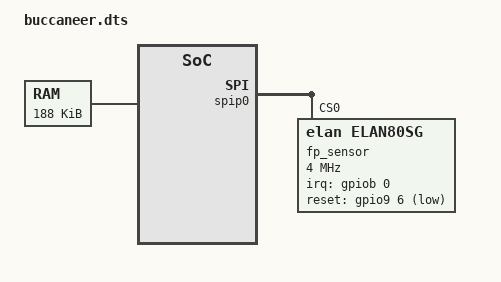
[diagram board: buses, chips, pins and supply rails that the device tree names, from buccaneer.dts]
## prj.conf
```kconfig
# Copyright 2025 The ChromiumOS Authors
# Use of this source code is governed by a BSD-style license that can be
# found in the LICENSE file.

CONFIG_BASEBOARD_HELIPILOT=y

# System Controller drivers
CONFIG_SYSCON=y
CONFIG_SYS_CLOCK_HW_CYCLES_PER_SEC=16000000

# Power Management
CONFIG_PM=y
CONFIG_PM_DEVICE=y

# NPCX Flash driver options
CONFIG_FLASH_JESD216_API=y
CONFIG_FLASH_EX_OP_ENABLED=y
CONFIG_CROS_FLASH_NPCX_ERASE_SIZE=0x10000

# NPCX entropy driver options
CONFIG_ENTROPY_GENERATOR=y
CONFIG_ENTROPY_NPCX_DRBG_RESEED_INTERVAL=4294967295

# Set security strength to 256b
CONFIG_ENTROPY_NPCX_DRBG_SECURITY_STRENGTH_256B=y

# Enable OTP Key
CONFIG_NPCX_OTP_KEY=y

# Watchdog
CONFIG_PLATFORM_EC_WATCHDOG_PERIOD_MS=10000
CONFIG_WDT_NPCX_WARNING_LEADING_TIME_MS=3000

# RTC
CONFIG_PLATFORM_EC_RTC=y

# Disable flash shell for helipilot to save space
CONFIG_FLASH_SHELL=n

# Disable math util to save space
CONFIG_PLATFORM_EC_MATH_UTIL=n

# Disable assert to save space
CONFIG_PLATFORM_EC_DEBUG_ASSERT=n

# Host Commands
CONFIG_EC_HOST_CMD_INITIALIZE_AT_BOOT=n
CONFIG_EC_HOST_CMD_HANDLER_TX_BUFFER_SIZE=549
CONFIG_EC_HOST_CMD_HANDLER_RX_BUFFER_SIZE=544
CONFIG_EC_HOST_CMD_BACKEND_SHI=y
CONFIG_EC_HOST_CMD_BACKEND_UART=y
CONFIG_UART_ASYNC_API=y
CONFIG_UART_NPCX_USE_MDMA=y

# When HW_STACK_PROTECTION is enabled, the NULL pointer exception page size
# (CONFIG_CORTEX_M_NULL_POINTER_EXCEPTION_PAGE_SIZE)
# must have size greater or equal ARM_MPU_REGION_MIN_ALIGN_AND_SIZE (0x80).
# However that MPU configuration prevents access to the NPCX ROM functions at
# address 0x40-x0x5c.
#
# In order to keep HW_STACK_PROTECTION enabled, enable NULL pointer exception
# detection via the Data Watchpoint and Trace (DWT) unit.
CONFIG_NULL_POINTER_EXCEPTION_DETECTION_DWT=y

# Helipilot specific CROS EC sizes
CONFIG_CROS_EC_RO_SIZE=0x1F000

# b/427468960#comment10: sysworkq task overflows when handling Host Commands
# HC 0x0122 (EC_CMD_ADD_ENTROPY) and HC 0x0406 (EC_CMD_FP_CONTEXT)
CONFIG_SYSTEM_WORKQUEUE_STACK_SIZE=2048

# Enable runtime power management for devices
# Used in ec_host_cmd_backend_shi_npcx.c. Also see
# https://github.com/zephyrproject-rtos/zephyr/pull/92567.
CONFIG_PM_DEVICE_RUNTIME=y

# Enable NPCX RAM Lock
CONFIG_NPCX_RAM_LOCK=y

# Enable SHI shim initialization via SYS_INIT for earlier execution,
# which is required to prevent a race condition with the host command
# EC_CMD_RWSIG_ACTION (0x011d) during boot/sysjump. See b/427468960.
CONFIG_NPCX_SHI_SHIM_INIT_WITH_SYS_INIT=y

# Current rollback version value for helipilot.
CONFIG_PLATFORM_EC_ROLLBACK_VERSION=0

# Disable dropped logs tracking as limited on flash space.
CONFIG_PLATFORM_EC_HOSTCMD_CONSOLE_DROPPED_LOGS=n
```

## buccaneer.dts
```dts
/* Copyright 2025 The ChromiumOS Authors.
 * Use of this source code is governed by a BSD-style license that can be
 * found in the LICENSE file.
 */

#include "soc.dtsi"
#include "gpio.dtsi"
#include "buccaneer/rwsig.dtsi"

#include <cros/integrated_fwid.dtsi>
#include <cros/integrated_ro_frid.dtsi>

#define ELAN80SG_COMMON_IMAGE_PROPS \
	width = <80>; \
	height = <80>; \
	bits-per-pixel = <14>; \
	frame-size = <12800>; \
	image-data-offset-bytes = <0>; \
	v4l2-pixel-format = "V4L2_PIX_FMT_GREY";

/ {
	chosen {
		cros-fp,fingerprint-sensor = &fp_sensor;
		zephyr,host-cmd-shi-backend = &shi0;
		zephyr,host-cmd-uart-backend = &uart2;
		zephyr,shell-uart = &uart1;
		cros,rtc = &mtc;
	};

	binman {
		pad-byte = <0xff>;

		/* Total Flash size is 1 MB. */
		size = <0x100000>;

		/* First 128 kB (uniform 4 kB sectors) used for RO */
		wp-ro {
			offset = <0x0>;
			size = <0x20000>;
			ec-ro {
				size = <0x20000>;
				pad-byte = <0xff>;
				ro-fw {
					/*
					 * Clang doesn't emit STT_SECTION symbols (also
					 * called 'section symbols'), so 'rom_start'
					 * symbol is not available. Fortunately, Zephyr
					 * linker scripts provide '__rom_start_address'
					 * symbol which points to the beginning of
					 * 'rom_start' section.
					 */
					elf-base-sym = "__rom_start_address";
				};

				/*
				 * Override ro-frid offset to account for the 64-byte (0x40)
				 * NPCX firmware header prepended to the Zephyr RO image.
				 * 4 (version struct offset) + 0x40 (header) = 0x44 (68 bytes)
				 * go/cros-fp-npcx99fp-bootloader
				 */
				ro-frid {
					offset-from-elf = <&zephyr_ro>, "current_image_data", <0x44>;
				};
			};
		};

		/* Two rollback sections (64 kB each) */
		rollback0 {
			offset = <0x20000>;
			size = <0x10000>;
			type = "blob";
			filename = "../build-rw/rollback_initial_data.bin";
		};

		rollback1 {
			offset = <0x30000>;
			size = <0x10000>;
			type = "blob";
			filename = "../build-rw/rollback_initial_data.bin";
		};

		/* 320 kB used for RW - buccaneer ECOS flash size */
		ec-rw {
			offset = <0x40000>;
			size = <0x50000>;
			rw-fw {
				/*
				 * Clang doesn't emit STT_SECTION symbols (also
				 * called 'section symbols'), so 'rom_start'
				 * symbol is not available. Fortunately, Zephyr
				 * linker scripts provide '__rom_start_address'
				 * symbol which points to the beginning of
				 * 'rom_start' section.
				 */
				zephyr-rw {
					elf-base-sym = "__rom_start_address";
				};
			};
		};
	};
};

/*
 *           ┌──────────────┐
 *           │   Reserved   │
 *           │     4KB      │
 *           ├──────────────┤0x200D7000
 *           │              │
 *           │              │
 *           │   Data RAM   │
 *           │     188KB    │
 *           │              │
 *           │              │
 * 0x100A8000├──────────────┤0x200A8000
 *           │              │
 *           │              │
 *           │              │
 *           │              │
 *           │   Code RAM   │
 *           │     320KB    │
 *           │              │
 *           │              │
 *           │              │
 *           │              │
 *           │              │
 * 0x10058000└──────────────┘
 */
&flash0 {
    reg = <0x10058000 DT_SIZE_K(320)>;
};

/delete-node/ &sram0;

/ {
	sram0: memory@200a8000 {
		compatible = "mmio-sram";
		reg = <0x200A8000 DT_SIZE_K(188)>;
	};
};

&flash0 {
	partitions {
		compatible = "fixed-partitions";
		#address-cells = <1>;
		#size-cells = <1>;

		/* First rollback section */
		rollback0: partition@20000 {
			label = "rollback0";
			reg = <0x20000 DT_SIZE_K(64)>;
		};

		/* Second rollback section */
		rollback1: partition@30000 {
			label = "rollback1";
			reg = <0x30000 DT_SIZE_K(64)>;
		};
	};
};

&spip0 {
	fp_sensor: elan80sg@0 {
		compatible = "elan,elan80sg";
		reg = <0>;
		spi-max-frequency = <4000000>;

		configs {
			compatible = "fingerprint-image-frame-params";
			config0 {
				ELAN80SG_COMMON_IMAGE_PROPS
				capture-type = "FINGERPRINT_CAPTURE_TYPE_VENDOR_FORMAT";
			};
			config1 {
				ELAN80SG_COMMON_IMAGE_PROPS
				capture-type = "FINGERPRINT_CAPTURE_TYPE_SIMPLE_IMAGE";
			};
			config2 {
				ELAN80SG_COMMON_IMAGE_PROPS
				capture-type = "FINGERPRINT_CAPTURE_TYPE_PATTERN0";
			};
			config3 {
				ELAN80SG_COMMON_IMAGE_PROPS
				capture-type = "FINGERPRINT_CAPTURE_TYPE_PATTERN1";
			};
			config4 {
				ELAN80SG_COMMON_IMAGE_PROPS
				capture-type = "FINGERPRINT_CAPTURE_TYPE_QUALITY_TEST";
			};
			config5 {
				ELAN80SG_COMMON_IMAGE_PROPS
				capture-type = "FINGERPRINT_CAPTURE_TYPE_RESET_TEST";
			};
		};

		irq-gpios = <&gpiob 0 GPIO_ACTIVE_HIGH>;
		reset-gpios = <&gpio9 6 GPIO_ACTIVE_LOW>;
	};
};
```

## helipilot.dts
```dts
/* Copyright 2025 The ChromiumOS Authors.
 * Use of this source code is governed by a BSD-style license that can be
 * found in the LICENSE file.
 */

#include "soc.dtsi"
#include "gpio.dtsi"
#include "rwsig.dtsi"

#include <cros/integrated_fwid.dtsi>
#include <cros/integrated_ro_frid.dtsi>

#define FPC1025_BASE_IMAGE_PROPS \
    width = <160>; \
    height = <160>; \
    bits-per-pixel = <8>; \
    image-data-offset-bytes = <400>; \
    v4l2-pixel-format = "V4L2_PIX_FMT_GREY";

#define FPC1025_RAW_IMAGE_PROPS \
    FPC1025_BASE_IMAGE_PROPS \
    /*
     * Sensor raw image size
     *
     * Value from fpc_bep_image_get_buffer_size(): (160*160)+660
     */ \
    frame-size = <26260>;

#define FPC1025_REAL_IMAGE_PROPS \
    FPC1025_BASE_IMAGE_PROPS \
    /* Sensor real image size: (160*160) */ \
    frame-size = <25600>;

/ {
	chosen {
		cros-fp,fingerprint-sensor = &fp_sensor;
		zephyr,host-cmd-shi-backend = &shi0;
		zephyr,host-cmd-uart-backend = &uart2;
		zephyr,shell-uart = &uart1;
		cros,rtc = &mtc;
	};

	binman {
		pad-byte = <0xff>;

		/* Total Flash size is 1 MB. */
		size = <0x100000>;

		/* First 128 kB (uniform 4 kB sectors) used for RO */
		wp-ro {
			offset = <0x0>;
			size = <0x20000>;
			ec-ro {
				size = <0x20000>;
				pad-byte = <0xff>;
				ro-fw {
					/*
					 * Clang doesn't emit STT_SECTION symbols (also
					 * called 'section symbols'), so 'rom_start'
					 * symbol is not available. Fortunately, Zephyr
					 * linker scripts provide '__rom_start_address'
					 * symbol which points to the beginning of
					 * 'rom_start' section.
					 */
					elf-base-sym = "__rom_start_address";
				};

				/*
				 * Override ro-frid offset to account for the 64-byte (0x40)
				 * NPCX firmware header prepended to the Zephyr RO image.
				 * 4 (version struct offset) + 0x40 (header) = 0x44 (68 bytes)
				 * go/cros-fp-npcx99fp-bootloader
				 */
				ro-frid {
					offset-from-elf = <&zephyr_ro>, "current_image_data", <0x44>;
				};
			};
		};

		/* Two rollback sections (64 kB each) */
		rollback0 {
			offset = <0x20000>;
			size = <0x10000>;
			type = "blob";
			filename = "../build-rw/rollback_initial_data.bin";
		};

		rollback1 {
			offset = <0x30000>;
			size = <0x10000>;
			type = "blob";
			filename = "../build-rw/rollback_initial_data.bin";
		};

		/* 320 kB used for RW - helipilot ECOS flash size */
		ec-rw {
			offset = <0x40000>;
			size = <0x50000>;
			rw-fw {
				/*
				 * Clang doesn't emit STT_SECTION symbols (also
				 * called 'section symbols'), so 'rom_start'
				 * symbol is not available. Fortunately, Zephyr
				 * linker scripts provide '__rom_start_address'
				 * symbol which points to the beginning of
				 * 'rom_start' section.
				 */
				zephyr-rw {
					elf-base-sym = "__rom_start_address";
				};
			};
		};
	};
};

/*
 * Due to a rounding bug in ECOS helipilot, the size of RW now baked into
 * RO is 320 kB (0x50000). This change updates the code RAM to 320 kB
 * correspondingly, freeing up additional data memory. This results in the
 * following memory map for Zephyr Helipilot:
 *
 *           ┌──────────────┐
 *           │   Reserved   │
 *           │     4KB      │
 *           ├──────────────┤0x200D7000
 *           │              │
 *           │              │
 *           │   Data RAM   │
 *           │     188KB    │
 *           │              │
 *           │              │
 * 0x100A8000├──────────────┤0x200A8000
 *           │              │
 *           │              │
 *           │              │
 *           │              │
 *           │   Code RAM   │
 *           │     320KB    │
 *           │              │
 *           │              │
 *           │              │
 *           │              │
 *           │              │
 * 0x10058000└──────────────┘
 */
&flash0 {
    reg = <0x10058000 DT_SIZE_K(320)>;
};

/delete-node/ &sram0;

/ {
	sram0: memory@200a8000 {
		compatible = "mmio-sram";
		reg = <0x200A8000 DT_SIZE_K(188)>;
	};
};

&flash0 {
	partitions {
		compatible = "fixed-partitions";
		#address-cells = <1>;
		#size-cells = <1>;

		/* First rollback section */
		rollback0: partition@20000 {
			label = "rollback0";
			reg = <0x20000 DT_SIZE_K(64)>;
		};

		/* Second rollback section */
		rollback1: partition@30000 {
			label = "rollback1";
			reg = <0x30000 DT_SIZE_K(64)>;
		};
	};
};

&spip0 {
	fp_sensor: fpc1025@0 {
		compatible = "fpc,fpc1025";
		reg = <0>;
		spi-max-frequency = <4000000>;

		configs {
			compatible = "fingerprint-image-frame-params";
			config0 {
				FPC1025_RAW_IMAGE_PROPS
				capture-type = "FINGERPRINT_CAPTURE_TYPE_VENDOR_FORMAT";
			};
			config1 {
				FPC1025_REAL_IMAGE_PROPS
				capture-type = "FINGERPRINT_CAPTURE_TYPE_SIMPLE_IMAGE";
			};
			config2 {
				FPC1025_REAL_IMAGE_PROPS
				capture-type = "FINGERPRINT_CAPTURE_TYPE_PATTERN0";
			};
			config3 {
				FPC1025_REAL_IMAGE_PROPS
				capture-type = "FINGERPRINT_CAPTURE_TYPE_PATTERN1";
			};
			config4 {
				FPC1025_RAW_IMAGE_PROPS
				capture-type = "FINGERPRINT_CAPTURE_TYPE_QUALITY_TEST";
			};
			config5 {
				FPC1025_REAL_IMAGE_PROPS
				capture-type = "FINGERPRINT_CAPTURE_TYPE_RESET_TEST";
			};
		};

		irq-gpios = <&gpiob 0 GPIO_ACTIVE_HIGH>;
		reset-gpios = <&gpio9 6 GPIO_ACTIVE_LOW>;
	};
};
```

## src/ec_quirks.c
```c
/* Copyright 2025 The ChromiumOS Authors
 * Use of this source code is governed by a BSD-style license that can be
 * found in the LICENSE file.
 */

#include <zephyr/devicetree.h>
#include <zephyr/drivers/clock_control.h>
#include <zephyr/init.h>
#include <zephyr/irq.h>

#include <soc.h>

#define ITIM5_NODE DT_NODELABEL(itim5)

/*
 * Old FPMCU RO (EC based) uses ITIM32-5 as a watchdog warning to save the
 * CPU state before the real watchdog resets it. Zephyr instead uses the
 * watchdog module and it's capability to trigger warnings, so we disable this
 * timer to avoid an unhandled IRQ crash in cases where ECOS RO is used to
 * boot Zephyr RW.
 */
static const struct npcx_clk_cfg itim5_clk_cfg = {
	.bus = DT_CLOCKS_CELL_BY_IDX(ITIM5_NODE, 0, bus),
	.ctrl = DT_CLOCKS_CELL_BY_IDX(ITIM5_NODE, 0, ctl),
	.bit = DT_CLOCKS_CELL_BY_IDX(ITIM5_NODE, 0, bit),
};

static int disable_itim5(void)
{
	static struct itim32_reg *const itim5_reg =
		(struct itim32_reg *)DT_REG_ADDR(ITIM5_NODE);

	irq_disable(DT_IRQN(ITIM5_NODE));

	itim5_reg->ITCTS32 &= ~BIT(NPCX_ITCTSXX_ITEN);

	clock_control_off(DEVICE_DT_GET(NPCX_CLK_CTRL_NODE),
			  (clock_control_subsys_t)&itim5_clk_cfg);

	return 0;
}
SYS_INIT(disable_itim5, POST_KERNEL, CONFIG_APPLICATION_INIT_PRIORITY);
```
